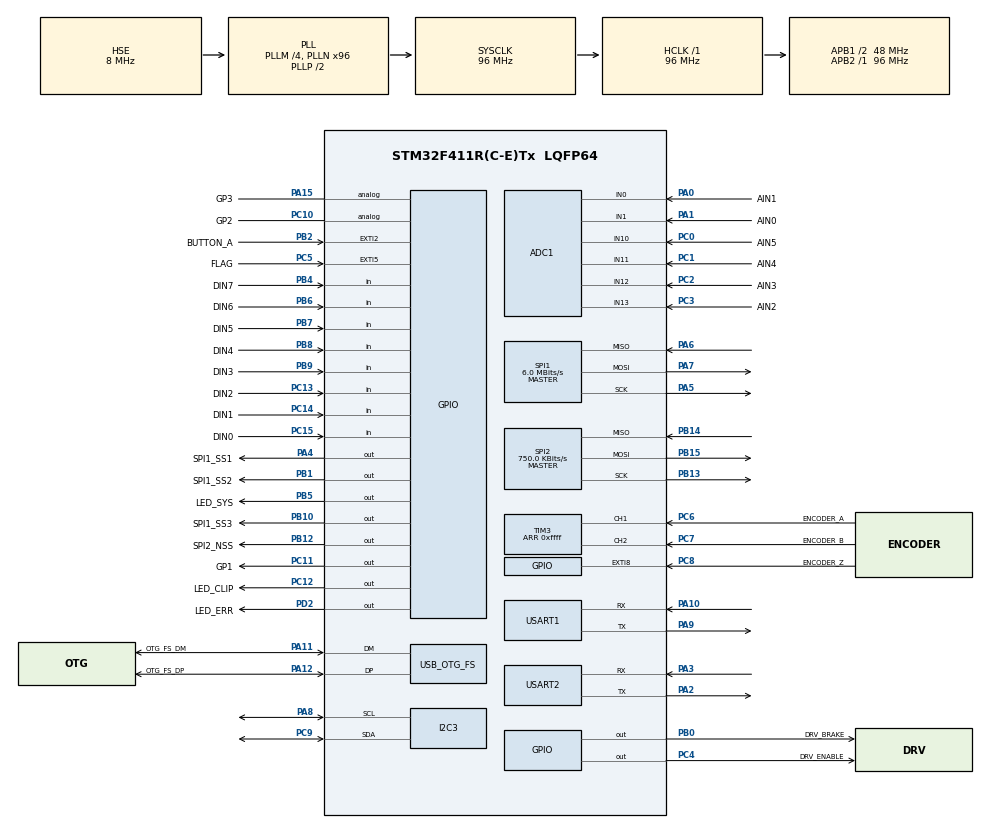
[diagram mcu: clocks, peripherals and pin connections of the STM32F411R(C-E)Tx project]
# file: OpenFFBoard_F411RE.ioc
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ADC1.Channel-1\#ChannelRegularConversion=ADC_CHANNEL_1
ADC1.Channel-2\#ChannelRegularConversion=ADC_CHANNEL_0
ADC1.Channel-3\#ChannelRegularConversion=ADC_CHANNEL_13
ADC1.Channel-4\#ChannelRegularConversion=ADC_CHANNEL_12
ADC1.Channel-5\#ChannelRegularConversion=ADC_CHANNEL_11
ADC1.Channel-6\#ChannelRegularConversion=ADC_CHANNEL_10
ADC1.Channel-7\#ChannelRegularConversion=ADC_CHANNEL_TEMPSENSOR
ADC1.ContinuousConvMode=ENABLE
ADC1.DMAContinuousRequests=ENABLE
ADC1.InjNumberOfConversion=0
ADC1.NbrOfConversion=7
ADC1.Rank-1\#ChannelRegularConversion=1
ADC1.Rank-2\#ChannelRegularConversion=2
ADC1.Rank-3\#ChannelRegularConversion=3
ADC1.Rank-4\#ChannelRegularConversion=4
ADC1.Rank-5\#ChannelRegularConversion=5
ADC1.Rank-6\#ChannelRegularConversion=6
ADC1.Rank-7\#ChannelRegularConversion=7
ADC1.SamplingTime-1\#ChannelRegularConversion=ADC_SAMPLETIME_56CYCLES
ADC1.SamplingTime-2\#ChannelRegularConversion=ADC_SAMPLETIME_56CYCLES
ADC1.SamplingTime-3\#ChannelRegularConversion=ADC_SAMPLETIME_56CYCLES
ADC1.SamplingTime-4\#ChannelRegularConversion=ADC_SAMPLETIME_56CYCLES
ADC1.SamplingTime-5\#ChannelRegularConversion=ADC_SAMPLETIME_56CYCLES
ADC1.SamplingTime-6\#ChannelRegularConversion=ADC_SAMPLETIME_56CYCLES
ADC1.SamplingTime-7\#ChannelRegularConversion=ADC_SAMPLETIME_28CYCLES
ADC1.master=1
Dma.ADC1.0.Direction=DMA_PERIPH_TO_MEMORY
Dma.ADC1.0.FIFOMode=DMA_FIFOMODE_DISABLE
Dma.ADC1.0.Instance=DMA2_Stream0
Dma.ADC1.0.MemDataAlignment=DMA_MDATAALIGN_WORD
Dma.ADC1.0.MemInc=DMA_MINC_ENABLE
Dma.ADC1.0.Mode=DMA_CIRCULAR
Dma.ADC1.0.PeriphDataAlignment=DMA_PDATAALIGN_WORD
Dma.ADC1.0.PeriphInc=DMA_PINC_DISABLE
Dma.ADC1.0.Priority=DMA_PRIORITY_MEDIUM
Dma.Request0=ADC1
Dma.Request1=SPI1_TX
Dma.Request2=SPI2_RX
Dma.Request3=SPI2_TX
Dma.Request4=SPI1_RX
Dma.SPI1_RX.4.Direction=DMA_PERIPH_TO_MEMORY
Dma.SPI1_RX.4.FIFOMode=DMA_FIFOMODE_DISABLE
Dma.SPI1_RX.4.Instance=DMA2_Stream2
Dma.SPI1_RX.4.MemDataAlignment=DMA_MDATAALIGN_BYTE
Dma.SPI1_RX.4.MemInc=DMA_MINC_ENABLE
Dma.SPI1_RX.4.Mode=DMA_NORMAL
Dma.SPI1_RX.4.PeriphDataAlignment=DMA_PDATAALIGN_BYTE
Dma.SPI1_RX.4.PeriphInc=DMA_PINC_DISABLE
Dma.SPI1_RX.4.Priority=DMA_PRIORITY_HIGH
Dma.SPI1_TX.1.Direction=DMA_MEMORY_TO_PERIPH
Dma.SPI1_TX.1.FIFOMode=DMA_FIFOMODE_DISABLE
Dma.SPI1_TX.1.Instance=DMA2_Stream3
Dma.SPI1_TX.1.MemDataAlignment=DMA_MDATAALIGN_BYTE
Dma.SPI1_TX.1.MemInc=DMA_MINC_ENABLE
Dma.SPI1_TX.1.Mode=DMA_NORMAL
Dma.SPI1_TX.1.PeriphDataAlignment=DMA_PDATAALIGN_BYTE
Dma.SPI1_TX.1.PeriphInc=DMA_PINC_DISABLE
Dma.SPI1_TX.1.Priority=DMA_PRIORITY_HIGH
Dma.SPI2_RX.2.Direction=DMA_PERIPH_TO_MEMORY
Dma.SPI2_RX.2.FIFOMode=DMA_FIFOMODE_DISABLE
Dma.SPI2_RX.2.Instance=DMA1_Stream3
Dma.SPI2_RX.2.MemDataAlignment=DMA_MDATAALIGN_BYTE
Dma.SPI2_RX.2.MemInc=DMA_MINC_ENABLE
Dma.SPI2_RX.2.Mode=DMA_NORMAL
Dma.SPI2_RX.2.PeriphDataAlignment=DMA_PDATAALIGN_BYTE
Dma.SPI2_RX.2.PeriphInc=DMA_PINC_DISABLE
Dma.SPI2_RX.2.Priority=DMA_PRIORITY_LOW
Dma.SPI2_TX.3.Direction=DMA_MEMORY_TO_PERIPH
Dma.SPI2_TX.3.FIFOMode=DMA_FIFOMODE_DISABLE
Dma.SPI2_TX.3.Instance=DMA1_Stream4
Dma.SPI2_TX.3.MemDataAlignment=DMA_MDATAALIGN_BYTE
Dma.SPI2_TX.3.MemInc=DMA_MINC_ENABLE
Dma.SPI2_TX.3.Mode=DMA_NORMAL
Dma.SPI2_TX.3.PeriphDataAlignment=DMA_PDATAALIGN_BYTE
Dma.SPI2_TX.3.PeriphInc=DMA_PINC_DISABLE
Dma.SPI2_TX.3.Priority=DMA_PRIORITY_LOW
FREERTOS.HEAP_NUMBER=4
FREERTOS.Tasks01=defaultTask,16,1024,StartDefaultTask,As weak,NULL,Dynamic,NULL,NULL
FREERTOS.configCHECK_FOR_STACK_OVERFLOW=2
FREERTOS.configENABLE_FPU=1
FREERTOS.configGENERATE_RUN_TIME_STATS=0
FREERTOS.configRECORD_STACK_HIGH_ADDRESS=1
FREERTOS.configTOTAL_HEAP_SIZE=0xffff
FREERTOS.configUSE_NEWLIB_REENTRANT=1
IWDG.Prescaler=IWDG_PRESCALER_16
Mcu.Family=STM32F4
Mcu.Name=STM32F411R(C-E)Tx
Mcu.Package=LQFP64
NVIC.DMA1_Stream3_IRQn=true\:5\:0\:true\:false\:true\:true\:false\:true\:true
NVIC.DMA1_Stream4_IRQn=true\:5\:0\:true\:false\:true\:true\:false\:true\:true
NVIC.DMA2_Stream0_IRQn=true\:5\:0\:true\:true\:true\:2\:true\:false\:true\:true
NVIC.DMA2_Stream2_IRQn=true\:5\:0\:true\:false\:true\:true\:false\:true\:true
NVIC.DMA2_Stream3_IRQn=true\:5\:0\:true\:false\:true\:true\:false\:true\:true
NVIC.EXTI2_IRQn=true\:6\:0\:true\:false\:true\:true\:true\:true\:true
NVIC.EXTI9_5_IRQn=true\:6\:0\:true\:true\:true\:6\:true\:true\:true\:true
NVIC.I2C3_ER_IRQn=true\:10\:0\:true\:false\:true\:true\:true\:true\:true
NVIC.I2C3_EV_IRQn=true\:10\:0\:true\:false\:true\:true\:true\:true\:true
NVIC.OTG_FS_IRQn=true\:14\:0\:true\:false\:true\:true\:true\:false\:true
NVIC.PriorityGroup=NVIC_PRIORITYGROUP_4
NVIC.TIM1_BRK_TIM9_IRQn=true\:6\:0\:true\:false\:true\:true\:true\:true\:true
NVIC.TIM1_TRG_COM_TIM11_IRQn=true\:0\:0\:true\:false\:true\:false\:false\:true\:true
NVIC.TIM2_IRQn=true\:7\:0\:true\:true\:true\:5\:true\:true\:true\:true
NVIC.TIM3_IRQn=true\:6\:0\:true\:true\:true\:4\:true\:true\:true\:true
NVIC.TIM4_IRQn=true\:6\:0\:true\:true\:true\:3\:true\:true\:true\:true
NVIC.TIM5_IRQn=true\:9\:0\:true\:true\:true\:7\:true\:true\:true\:true
NVIC.TimeBase=TIM1_TRG_COM_TIM11_IRQn
NVIC.TimeBaseIP=TIM11
NVIC.USART1_IRQn=true\:6\:0\:true\:true\:true\:1\:true\:true\:true\:true
PA0-WKUP.GPIO_Label=AIN1
PA0-WKUP.Signal=ADCx_IN0
PA1.GPIO_Label=AIN0
PA1.Signal=ADCx_IN1
PA10.GPIO_PuPd=GPIO_PULLUP
PA10.Mode=Asynchronous
PA10.Signal=USART1_RX
PA11.GPIO_Label=OTG_FS_DM
PA11.Mode=Device_Only
PA11.Signal=USB_OTG_FS_DM
PA12.GPIO_Label=OTG_FS_DP
PA12.Mode=Device_Only
PA12.Signal=USB_OTG_FS_DP
PA13.GPIO_Label=SWDIO
PA13.Mode=Serial_Wire
PA13.Signal=SYS_JTMS-SWDIO
PA14.GPIO_Label=SWCLK
PA14.Mode=Serial_Wire
PA14.Signal=SYS_JTCK-SWCLK
PA15.GPIO_Label=GP3
PA15.Signal=GPIO_Analog
PA2.Mode=Asynchronous
PA2.Signal=USART2_TX
PA3.Mode=Asynchronous
PA3.Signal=USART2_RX
PA4.GPIO_Label=SPI1_SS1
PA4.GPIO_Speed=GPIO_SPEED_FREQ_VERY_HIGH
PA4.PinState=GPIO_PIN_SET
PA4.Signal=GPIO_Output
PA5.Mode=Full_Duplex_Master
PA5.Signal=SPI1_SCK
PA6.GPIO_PuPd=GPIO_NOPULL
PA6.Mode=Full_Duplex_Master
PA6.Signal=SPI1_MISO
PA7.Mode=Full_Duplex_Master
PA7.Signal=SPI1_MOSI
PA8.GPIO_Pu=GPIO_PULLUP
PA8.Mode=I2C
PA8.Signal=I2C3_SCL
PA9.Mode=Asynchronous
PA9.Signal=USART1_TX
PB0.GPIO_Label=DRV_BRAKE
PB0.GPIO_PuPd=GPIO_NOPULL
PB0.GPIO_Speed=GPIO_SPEED_FREQ_MEDIUM
PB0.Signal=GPIO_Output
PB1.GPIO_Label=SPI1_SS2
PB1.GPIO_Speed=GPIO_SPEED_FREQ_VERY_HIGH
PB1.PinState=GPIO_PIN_SET
PB1.Signal=GPIO_Output
PB10.GPIO_Label=SPI1_SS3
PB10.GPIO_Speed=GPIO_SPEED_FREQ_VERY_HIGH
PB10.PinState=GPIO_PIN_SET
PB10.Signal=GPIO_Output
PB12.GPIO_Label=SPI2_NSS
PB12.GPIO_Speed=GPIO_SPEED_FREQ_HIGH
PB12.Signal=GPIO_Output
PB13.Mode=Full_Duplex_Master
PB13.Signal=SPI2_SCK
PB14.Mode=Full_Duplex_Master
PB14.Signal=SPI2_MISO
PB15.Mode=Full_Duplex_Master
PB15.Signal=SPI2_MOSI
PB2.GPIO_Label=BUTTON_A
PB2.Signal=GPXTI2
PB3.Signal=SYS_JTDO-SWO
PB4.GPIO_Label=DIN7
PB4.GPIO_PuPd=GPIO_PULLUP
PB4.Signal=GPIO_Input
PB5.GPIO_Label=LED_SYS
PB5.Signal=GPIO_Output
PB6.GPIO_Label=DIN6
PB6.GPIO_PuPd=GPIO_PULLUP
PB6.Signal=GPIO_Input
PB7.GPIO_Label=DIN5
PB7.GPIO_PuPd=GPIO_PULLUP
PB7.Signal=GPIO_Input
PB8.GPIO_Label=DIN4
PB8.GPIO_PuPd=GPIO_PULLUP
PB8.Signal=GPIO_Input
PB9.GPIO_Label=DIN3
PB9.GPIO_PuPd=GPIO_PULLUP
PB9.Signal=GPIO_Input
PC0.GPIO_Label=AIN5
PC0.Signal=ADCx_IN10
PC1.GPIO_Label=AIN4
PC1.Signal=ADCx_IN11
PC10.GPIO_Label=GP2
PC10.Signal=GPIO_Analog
PC11.GPIO_Label=GP1
PC11.Signal=GPIO_Output
PC12.GPIO_Label=LED_CLIP
PC12.Signal=GPIO_Output
PC13-ANTI_TAMP.GPIO_Label=DIN2
PC13-ANTI_TAMP.GPIO_PuPd=GPIO_PULLUP
PC13-ANTI_TAMP.Signal=GPIO_Input
PC14-OSC32_IN.GPIO_Label=DIN1
PC14-OSC32_IN.GPIO_PuPd=GPIO_PULLUP
PC14-OSC32_IN.Signal=GPIO_Input
PC15-OSC32_OUT.GPIO_Label=DIN0
PC15-OSC32_OUT.GPIO_PuPd=GPIO_PULLUP
PC15-OSC32_OUT.Signal=GPIO_Input
PC2.GPIO_Label=AIN3
PC2.Signal=ADCx_IN12
PC3.GPIO_Label=AIN2
PC3.Signal=ADCx_IN13
PC4.GPIO_Label=DRV_ENABLE
PC4.GPIO_PuPd=GPIO_NOPULL
PC4.Signal=GPIO_Output
PC5.GPIO_Label=FLAG
PC5.Signal=GPXTI5
PC6.GPIO_Label=ENCODER_A
PC6.GPIO_PuPd=GPIO_NOPULL
PC6.GPIO_Speed=GPIO_SPEED_FREQ_MEDIUM
PC6.Signal=S_TIM3_CH1
PC7.GPIO_Label=ENCODER_B
PC7.GPIO_PuPd=GPIO_NOPULL
PC7.GPIO_Speed=GPIO_SPEED_FREQ_MEDIUM
PC7.Signal=S_TIM3_CH2
PC8.GPIO_Label=ENCODER_Z
PC8.GPIO_ModeDefaultEXTI=GPIO_MODE_IT_FALLING
PC8.GPIO_PuPd=GPIO_NOPULL
PC8.Signal=GPXTI8
PC9.GPIO_Pu=GPIO_PULLUP
PC9.Mode=I2C
PC9.Signal=I2C3_SDA
PD2.GPIO_Label=LED_ERR
PD2.Signal=GPIO_Output
PH0\ -\ OSC_IN.Mode=HSE-External-Oscillator
PH0\ -\ OSC_IN.Signal=RCC_OSC_IN
PH1\ -\ OSC_OUT.Mode=HSE-External-Oscillator
PH1\ -\ OSC_OUT.Signal=RCC_OSC_OUT
ProjectManager.HeapSize=0x400
ProjectManager.StackSize=0x400
ProjectManager.TargetToolchain=STM32CubeIDE
RCC.48MHZClocksFreq_Value=48000000
RCC.AHBFreq_Value=96000000
RCC.APB1CLKDivider=RCC_HCLK_DIV2
RCC.APB1Freq_Value=48000000
RCC.APB1TimFreq_Value=96000000
RCC.APB2Freq_Value=96000000
RCC.APB2TimFreq_Value=96000000
RCC.CortexFreq_Value=96000000
RCC.HCLKFreq_Value=96000000
RCC.HSE_VALUE=8000000
RCC.HSI_VALUE=16000000
RCC.LSE_VALUE=32768
RCC.PLLM=4
RCC.PLLN=96
RCC.SYSCLKFreq_VALUE=96000000
RCC.SYSCLKSource=RCC_SYSCLKSOURCE_PLLCLK
RCC.VCOOutputFreq_Value=192000000
SH.ADCx_IN0.0=ADC1_IN0,IN0
SH.ADCx_IN1.0=ADC1_IN1,IN1
SH.ADCx_IN10.0=ADC1_IN10,IN10
SH.ADCx_IN11.0=ADC1_IN11,IN11
SH.ADCx_IN12.0=ADC1_IN12,IN12
SH.ADCx_IN13.0=ADC1_IN13,IN13
SH.S_TIM3_CH1.0=TIM3_CH1,Encoder_Interface
SH.S_TIM3_CH2.0=TIM3_CH2,Encoder_Interface
SPI1.BaudRatePrescaler=SPI_BAUDRATEPRESCALER_16
SPI1.CLKPhase=SPI_PHASE_2EDGE
SPI1.CLKPolarity=SPI_POLARITY_HIGH
SPI1.CalculateBaudRate=6.0 MBits/s
SPI1.DataSize=SPI_DATASIZE_8BIT
SPI1.Direction=SPI_DIRECTION_2LINES
SPI1.FirstBit=SPI_FIRSTBIT_MSB
SPI1.Mode=SPI_MODE_MASTER
SPI1.VirtualType=VM_MASTER
SPI2.BaudRatePrescaler=SPI_BAUDRATEPRESCALER_64
SPI2.CLKPhase=SPI_PHASE_1EDGE
SPI2.CLKPolarity=SPI_POLARITY_LOW
SPI2.CalculateBaudRate=750.0 KBits/s
SPI2.Direction=SPI_DIRECTION_2LINES
SPI2.FirstBit=SPI_FIRSTBIT_MSB
SPI2.Mode=SPI_MODE_MASTER
SPI2.VirtualType=VM_MASTER
TIM1.Period=0xffff
TIM1.Prescaler=96-1
TIM10.Prescaler=96-1
TIM2.Period=500
TIM2.Prescaler=96-1
TIM3.CounterMode=TIM_COUNTERMODE_CENTERALIGNED1
TIM3.EncoderMode=TIM_ENCODERMODE_TI12
TIM3.Period=0xffff
TIM4.Period=0xffff
TIM4.Prescaler=96-1
TIM5.Period=0xffffffff
TIM5.Prescaler=96-1
USART1.VirtualMode=VM_ASYNC
USART2.VirtualMode=VM_ASYNC
USB_OTG_FS.Sof_enable=DISABLE
USB_OTG_FS.VirtualMode=Device_Only
USB_OTG_FS.lpm_enable=DISABLE
VP_ADC1_TempSens_Input.Mode=IN-TempSens
VP_FREERTOS_VS_CMSIS_V2.Mode=CMSIS_V2
VP_IWDG_VS_IWDG.Mode=IWDG_Activate
VP_SYS_VS_tim11.Mode=TIM11
VP_TIM10_VS_ClockSourceINT.Mode=Enable_Timer
VP_TIM1_VS_ClockSourceINT.Mode=Internal
VP_TIM2_VS_ClockSourceINT.Mode=Internal
VP_TIM4_VS_ClockSourceINT.Mode=Internal
VP_TIM5_VS_ClockSourceINT.Mode=Internal
VP_TIM9_VS_ClockSourceINT.Mode=Internal
board=custom

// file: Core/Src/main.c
/* USER CODE BEGIN Header */
/**
  ******************************************************************************
  * @file           : main.c
  * @brief          : Main program body
  ******************************************************************************
  * @attention
  *
  * <h2><center>&copy; Copyright (c) 2020 STMicroelectronics.
  * All rights reserved.</center></h2>
  *
  * This software component is licensed by ST under BSD 3-Clause license,
  * the "License"; You may not use this file except in compliance with the
  * License. You may obtain a copy of the License at:
  *                        opensource.org/licenses/BSD-3-Clause
  *
  ******************************************************************************
  */
/* USER CODE END Header */
#include "main.h"
#include "cmsis_os.h"

/* USER CODE BEGIN Includes */
#include <cppmain.h>
extern void cppmain();

#include "printf.h"
//#include "global_callbacks.h"
/* USER CODE END Includes */

ADC_HandleTypeDef hadc1;
DMA_HandleTypeDef hdma_adc1;

I2C_HandleTypeDef hi2c3;

IWDG_HandleTypeDef hiwdg;

SPI_HandleTypeDef hspi1;
SPI_HandleTypeDef hspi2;
DMA_HandleTypeDef hdma_spi1_tx;
DMA_HandleTypeDef hdma_spi1_rx;
DMA_HandleTypeDef hdma_spi2_rx;
DMA_HandleTypeDef hdma_spi2_tx;

TIM_HandleTypeDef htim1;
TIM_HandleTypeDef htim2;
TIM_HandleTypeDef htim3;
TIM_HandleTypeDef htim4;
TIM_HandleTypeDef htim5;
TIM_HandleTypeDef htim9;
TIM_HandleTypeDef htim10;

UART_HandleTypeDef huart1;
UART_HandleTypeDef huart2;

PCD_HandleTypeDef hpcd_USB_OTG_FS;

/* Definitions for defaultTask */
osThreadId_t defaultTaskHandle;
const osThreadAttr_t defaultTask_attributes = {
  .name = "defaultTask",
  .stack_size = 1024 * 4,
  .priority = (osPriority_t) osPriorityBelowNormal,
};

void SystemClock_Config(void);
static void MX_GPIO_Init(void);
static void MX_DMA_Init(void);
static void MX_TIM3_Init(void);
static void MX_ADC1_Init(void);
static void MX_TIM2_Init(void);
static void MX_TIM1_Init(void);
static void MX_USART1_UART_Init(void);
static void MX_SPI2_Init(void);
static void MX_TIM4_Init(void);
static void MX_TIM5_Init(void);
static void MX_I2C3_Init(void);
static void MX_SPI1_Init(void);
static void MX_TIM10_Init(void);
static void MX_TIM9_Init(void);
static void MX_IWDG_Init(void);
static void MX_USART2_UART_Init(void);
void StartDefaultTask(void *argument);

static void MX_NVIC_Init(void);
/* USER CODE BEGIN PFP */
uint32_t dfu_reset_to_bootloader_magic;
/* USER CODE END PFP */

/* USER CODE BEGIN 0 */

// dummy main
__attribute__((weak)) void cppmain(){
	Error_Handler();
}

static char   printf_buffer[2];
void _putchar(char character)
{
  // send char to console etc.
	printf_buffer[1] = character;
	HAL_UART_Transmit(&huart2, (uint8_t*)printf_buffer, sizeof(printf_buffer), 1000);
	//HAL_UART_Transmit(&huart4, (uint8_t*)printf_buffer, sizeof(printf_buffer), 1000);
}

/* USER CODE END 0 */

int main(void)
{

  /* MCU Configuration--------------------------------------------------------*/

  /* Reset of all peripherals, Initializes the Flash interface and the Systick. */
  HAL_Init();

  /* Configure the system clock */
  SystemClock_Config();

  /* Initialize all configured peripherals */
  MX_GPIO_Init();
  MX_DMA_Init();
  MX_TIM3_Init();
  MX_ADC1_Init();
  MX_TIM2_Init();
  MX_TIM1_Init();
  MX_USART1_UART_Init();
  MX_SPI2_Init();
  MX_TIM4_Init();
  MX_TIM5_Init();
  MX_I2C3_Init();
  MX_SPI1_Init();
  MX_TIM10_Init();
  MX_TIM9_Init();
  MX_IWDG_Init();
  MX_USART2_UART_Init();

  /* Initialize interrupts */
  MX_NVIC_Init();
  /* USER CODE BEGIN 2 */
  MX_USB_OTG_FS_PCD_Init();
  //Test leds
  HAL_GPIO_WritePin(LED_SYS_GPIO_Port, LED_SYS_Pin, GPIO_PIN_SET);
  HAL_GPIO_WritePin(LED_CLIP_GPIO_Port, LED_CLIP_Pin, GPIO_PIN_SET);
  HAL_GPIO_WritePin(LED_ERR_GPIO_Port, LED_ERR_Pin, GPIO_PIN_SET);
  HAL_Delay(100);

  printf("\r\n");
  	printf ("============== OpenFFB  ==============\r\n");

  /* USER CODE END 2 */

  /* Init scheduler */
  osKernelInitialize();

  /* Create the thread(s) */
  /* creation of defaultTask */
  defaultTaskHandle = osThreadNew(StartDefaultTask, NULL, &defaultTask_attributes);

  /* Start scheduler */
  osKernelStart();

  /* We should never get here as control is now taken by the scheduler */
  /* Infinite loop */
  /* USER CODE BEGIN WHILE */

  while (1)
  {
	  cppmain();
    /* USER CODE END WHILE */

  }
}

void SystemClock_Config(void)
{
  RCC_OscInitTypeDef RCC_OscInitStruct = {0};
  RCC_ClkInitTypeDef RCC_ClkInitStruct = {0};

  /** Configure the main internal regulator output voltage
  */
  __HAL_RCC_PWR_CLK_ENABLE();
  __HAL_PWR_VOLTAGESCALING_CONFIG(PWR_REGULATOR_VOLTAGE_SCALE1);

  /** Initializes the RCC Oscillators according to the specified parameters
  * in the RCC_OscInitTypeDef structure.
  */
  RCC_OscInitStruct.OscillatorType = RCC_OSCILLATORTYPE_LSI|RCC_OSCILLATORTYPE_HSE;
  RCC_OscInitStruct.HSEState = RCC_HSE_ON;
  RCC_OscInitStruct.LSIState = RCC_LSI_ON;
  RCC_OscInitStruct.PLL.PLLState = RCC_PLL_ON;
  RCC_OscInitStruct.PLL.PLLSource = RCC_PLLSOURCE_HSE;
  RCC_OscInitStruct.PLL.PLLM = 4;
  RCC_OscInitStruct.PLL.PLLN = 96;
  RCC_OscInitStruct.PLL.PLLP = RCC_PLLP_DIV2;
  RCC_OscInitStruct.PLL.PLLQ = 4;
  if (HAL_RCC_OscConfig(&RCC_OscInitStruct) != HAL_OK)
  {
    Error_Handler();
  }

  /** Initializes the CPU, AHB and APB buses clocks
  */
  RCC_ClkInitStruct.ClockType = RCC_CLOCKTYPE_HCLK|RCC_CLOCKTYPE_SYSCLK
                              |RCC_CLOCKTYPE_PCLK1|RCC_CLOCKTYPE_PCLK2;
  RCC_ClkInitStruct.SYSCLKSource = RCC_SYSCLKSOURCE_PLLCLK;
  RCC_ClkInitStruct.AHBCLKDivider = RCC_SYSCLK_DIV1;
  RCC_ClkInitStruct.APB1CLKDivider = RCC_HCLK_DIV2;
  RCC_ClkInitStruct.APB2CLKDivider = RCC_HCLK_DIV1;

  if (HAL_RCC_ClockConfig(&RCC_ClkInitStruct, FLASH_LATENCY_3) != HAL_OK)
  {
    Error_Handler();
  }
}

/**
  * @brief NVIC Configuration.
  * @retval None
  */
static void MX_NVIC_Init(void)
{
  /* USART1_IRQn interrupt configuration */
  HAL_NVIC_SetPriority(USART1_IRQn, 6, 0);
  HAL_NVIC_EnableIRQ(USART1_IRQn);
  /* DMA2_Stream0_IRQn interrupt configuration */
  HAL_NVIC_SetPriority(DMA2_Stream0_IRQn, 5, 0);
  HAL_NVIC_EnableIRQ(DMA2_Stream0_IRQn);
  /* TIM4_IRQn interrupt configuration */
  HAL_NVIC_SetPriority(TIM4_IRQn, 6, 0);
  HAL_NVIC_EnableIRQ(TIM4_IRQn);
  /* TIM3_IRQn interrupt configuration */
  HAL_NVIC_SetPriority(TIM3_IRQn, 6, 0);
  HAL_NVIC_EnableIRQ(TIM3_IRQn);
  /* TIM2_IRQn interrupt configuration */
  HAL_NVIC_SetPriority(TIM2_IRQn, 7, 0);
  HAL_NVIC_EnableIRQ(TIM2_IRQn);
  /* EXTI9_5_IRQn interrupt configuration */
  HAL_NVIC_SetPriority(EXTI9_5_IRQn, 6, 0);
  HAL_NVIC_EnableIRQ(EXTI9_5_IRQn);
  /* TIM5_IRQn interrupt configuration */
  HAL_NVIC_SetPriority(TIM5_IRQn, 9, 0);
  HAL_NVIC_EnableIRQ(TIM5_IRQn);
}

static void MX_ADC1_Init(void)
{

  ADC_ChannelConfTypeDef sConfig = {0};

  /** Configure the global features of the ADC (Clock, Resolution, Data Alignment and number of conversion)
  */
  hadc1.Instance = ADC1;
  hadc1.Init.ClockPrescaler = ADC_CLOCK_SYNC_PCLK_DIV4;
  hadc1.Init.Resolution = ADC_RESOLUTION_12B;
  hadc1.Init.ScanConvMode = ENABLE;
  hadc1.Init.ContinuousConvMode = ENABLE;
  hadc1.Init.DiscontinuousConvMode = DISABLE;
  hadc1.Init.ExternalTrigConvEdge = ADC_EXTERNALTRIGCONVEDGE_NONE;
  hadc1.Init.ExternalTrigConv = ADC_SOFTWARE_START;
  hadc1.Init.DataAlign = ADC_DATAALIGN_RIGHT;
  hadc1.Init.NbrOfConversion = 7;
  hadc1.Init.DMAContinuousRequests = ENABLE;
  hadc1.Init.EOCSelection = ADC_EOC_SINGLE_CONV;
  if (HAL_ADC_Init(&hadc1) != HAL_OK)
  {
    Error_Handler();
  }

  /** Configure for the selected ADC regular channel its corresponding rank in the sequencer and its sample time.
  */
  sConfig.Channel = ADC_CHANNEL_1;
  sConfig.Rank = 1;
  sConfig.SamplingTime = ADC_SAMPLETIME_56CYCLES;
  if (HAL_ADC_ConfigChannel(&hadc1, &sConfig) != HAL_OK)
  {
    Error_Handler();
  }

  /** Configure for the selected ADC regular channel its corresponding rank in the sequencer and its sample time.
  */
  sConfig.Channel = ADC_CHANNEL_0;
  sConfig.Rank = 2;
  if (HAL_ADC_ConfigChannel(&hadc1, &sConfig) != HAL_OK)
  {
    Error_Handler();
  }

  /** Configure for the selected ADC regular channel its corresponding rank in the sequencer and its sample time.
  */
  sConfig.Channel = ADC_CHANNEL_13;
  sConfig.Rank = 3;
  if (HAL_ADC_ConfigChannel(&hadc1, &sConfig) != HAL_OK)
  {
    Error_Handler();
  }

  /** Configure for the selected ADC regular channel its corresponding rank in the sequencer and its sample time.
  */
  sConfig.Channel = ADC_CHANNEL_12;
  sConfig.Rank = 4;
  if (HAL_ADC_ConfigChannel(&hadc1, &sConfig) != HAL_OK)
  {
    Error_Handler();
  }

  /** Configure for the selected ADC regular channel its corresponding rank in the sequencer and its sample time.
  */
  sConfig.Channel = ADC_CHANNEL_11;
  sConfig.Rank = 5;
  if (HAL_ADC_ConfigChannel(&hadc1, &sConfig) != HAL_OK)
  {
    Error_Handler();
  }

  /** Configure for the selected ADC regular channel its corresponding rank in the sequencer and its sample time.
  */
  sConfig.Channel = ADC_CHANNEL_10;
  sConfig.Rank = 6;
  if (HAL_ADC_ConfigChannel(&hadc1, &sConfig) != HAL_OK)
  {
    Error_Handler();
  }

  /** Configure for the selected ADC regular channel its corresponding rank in the sequencer and its sample time.
  */
  sConfig.Channel = ADC_CHANNEL_TEMPSENSOR;
  sConfig.Rank = 7;
  sConfig.SamplingTime = ADC_SAMPLETIME_28CYCLES;
  if (HAL_ADC_ConfigChannel(&hadc1, &sConfig) != HAL_OK)
  {
    Error_Handler();
  }

}

static void MX_I2C3_Init(void)
{

  hi2c3.Instance = I2C3;
  hi2c3.Init.ClockSpeed = 100000;
  hi2c3.Init.DutyCycle = I2C_DUTYCYCLE_2;
  hi2c3.Init.OwnAddress1 = 0;
  hi2c3.Init.AddressingMode = I2C_ADDRESSINGMODE_7BIT;
  hi2c3.Init.DualAddressMode = I2C_DUALADDRESS_DISABLE;
  hi2c3.Init.OwnAddress2 = 0;
  hi2c3.Init.GeneralCallMode = I2C_GENERALCALL_DISABLE;
  hi2c3.Init.NoStretchMode = I2C_NOSTRETCH_DISABLE;
  if (HAL_I2C_Init(&hi2c3) != HAL_OK)
  {
    Error_Handler();
  }

}

static void MX_IWDG_Init(void)
{

  hiwdg.Instance = IWDG;
  hiwdg.Init.Prescaler = IWDG_PRESCALER_16;
  hiwdg.Init.Reload = 4095;
  if (HAL_IWDG_Init(&hiwdg) != HAL_OK)
  {
    Error_Handler();
  }

}

static void MX_SPI1_Init(void)
{

  /* SPI1 parameter configuration*/
  hspi1.Instance = SPI1;
  hspi1.Init.Mode = SPI_MODE_MASTER;
  hspi1.Init.Direction = SPI_DIRECTION_2LINES;
  hspi1.Init.DataSize = SPI_DATASIZE_8BIT;
  hspi1.Init.CLKPolarity = SPI_POLARITY_HIGH;
  hspi1.Init.CLKPhase = SPI_PHASE_2EDGE;
  hspi1.Init.NSS = SPI_NSS_SOFT;
  hspi1.Init.BaudRatePrescaler = SPI_BAUDRATEPRESCALER_16;
  hspi1.Init.FirstBit = SPI_FIRSTBIT_MSB;
  hspi1.Init.TIMode = SPI_TIMODE_DISABLE;
  hspi1.Init.CRCCalculation = SPI_CRCCALCULATION_DISABLE;
  hspi1.Init.CRCPolynomial = 10;
  if (HAL_SPI_Init(&hspi1) != HAL_OK)
  {
    Error_Handler();
  }

}

static void MX_SPI2_Init(void)
{

  /* SPI2 parameter configuration*/
  hspi2.Instance = SPI2;
  hspi2.Init.Mode = SPI_MODE_MASTER;
  hspi2.Init.Direction = SPI_DIRECTION_2LINES;
  hspi2.Init.DataSize = SPI_DATASIZE_8BIT;
  hspi2.Init.CLKPolarity = SPI_POLARITY_LOW;
  hspi2.Init.CLKPhase = SPI_PHASE_1EDGE;
  hspi2.Init.NSS = SPI_NSS_SOFT;
  hspi2.Init.BaudRatePrescaler = SPI_BAUDRATEPRESCALER_64;
  hspi2.Init.FirstBit = SPI_FIRSTBIT_MSB;
  hspi2.Init.TIMode = SPI_TIMODE_DISABLE;
  hspi2.Init.CRCCalculation = SPI_CRCCALCULATION_DISABLE;
  hspi2.Init.CRCPolynomial = 10;
  if (HAL_SPI_Init(&hspi2) != HAL_OK)
  {
    Error_Handler();
  }

}

static void MX_TIM1_Init(void)
{

  TIM_ClockConfigTypeDef sClockSourceConfig = {0};
  TIM_MasterConfigTypeDef sMasterConfig = {0};

  htim1.Instance = TIM1;
  htim1.Init.Prescaler = 96-1;
  htim1.Init.CounterMode = TIM_COUNTERMODE_UP;
  htim1.Init.Period = 0xffff;
  htim1.Init.ClockDivision = TIM_CLOCKDIVISION_DIV1;
  htim1.Init.RepetitionCounter = 0;
  htim1.Init.AutoReloadPreload = TIM_AUTORELOAD_PRELOAD_DISABLE;
  if (HAL_TIM_Base_Init(&htim1) != HAL_OK)
  {
    Error_Handler();
  }
  sClockSourceConfig.ClockSource = TIM_CLOCKSOURCE_INTERNAL;
  if (HAL_TIM_ConfigClockSource(&htim1, &sClockSourceConfig) != HAL_OK)
  {
    Error_Handler();
  }
  sMasterConfig.MasterOutputTrigger = TIM_TRGO_RESET;
  sMasterConfig.MasterSlaveMode = TIM_MASTERSLAVEMODE_DISABLE;
  if (HAL_TIMEx_MasterConfigSynchronization(&htim1, &sMasterConfig) != HAL_OK)
  {
    Error_Handler();
  }

}

static void MX_TIM2_Init(void)
{

  TIM_ClockConfigTypeDef sClockSourceConfig = {0};
  TIM_MasterConfigTypeDef sMasterConfig = {0};

  htim2.Instance = TIM2;
  htim2.Init.Prescaler = 96-1;
  htim2.Init.CounterMode = TIM_COUNTERMODE_UP;
  htim2.Init.Period = 500;
  htim2.Init.ClockDivision = TIM_CLOCKDIVISION_DIV1;
  htim2.Init.AutoReloadPreload = TIM_AUTORELOAD_PRELOAD_DISABLE;
  if (HAL_TIM_Base_Init(&htim2) != HAL_OK)
  {
    Error_Handler();
  }
  sClockSourceConfig.ClockSource = TIM_CLOCKSOURCE_INTERNAL;
  if (HAL_TIM_ConfigClockSource(&htim2, &sClockSourceConfig) != HAL_OK)
  {
    Error_Handler();
  }
  sMasterConfig.MasterOutputTrigger = TIM_TRGO_RESET;
  sMasterConfig.MasterSlaveMode = TIM_MASTERSLAVEMODE_DISABLE;
  if (HAL_TIMEx_MasterConfigSynchronization(&htim2, &sMasterConfig) != HAL_OK)
  {
    Error_Handler();
  }

}

static void MX_TIM3_Init(void)
{

  TIM_Encoder_InitTypeDef sConfig = {0};
  TIM_MasterConfigTypeDef sMasterConfig = {0};

  htim3.Instance = TIM3;
  htim3.Init.Prescaler = 0;
  htim3.Init.CounterMode = TIM_COUNTERMODE_CENTERALIGNED1;
  htim3.Init.Period = 0xffff;
  htim3.Init.ClockDivision = TIM_CLOCKDIVISION_DIV1;
  htim3.Init.AutoReloadPreload = TIM_AUTORELOAD_PRELOAD_DISABLE;
  sConfig.EncoderMode = TIM_ENCODERMODE_TI12;
  sConfig.IC1Polarity = TIM_ICPOLARITY_RISING;
  sConfig.IC1Selection = TIM_ICSELECTION_DIRECTTI;
  sConfig.IC1Prescaler = TIM_ICPSC_DIV1;
  sConfig.IC1Filter = 0;
  sConfig.IC2Polarity = TIM_ICPOLARITY_RISING;
  sConfig.IC2Selection = TIM_ICSELECTION_DIRECTTI;
  sConfig.IC2Prescaler = TIM_ICPSC_DIV1;
  sConfig.IC2Filter = 0;
  if (HAL_TIM_Encoder_Init(&htim3, &sConfig) != HAL_OK)
  {
    Error_Handler();
  }
  sMasterConfig.MasterOutputTrigger = TIM_TRGO_RESET;
  sMasterConfig.MasterSlaveMode = TIM_MASTERSLAVEMODE_DISABLE;
  if (HAL_TIMEx_MasterConfigSynchronization(&htim3, &sMasterConfig) != HAL_OK)
  {
    Error_Handler();
  }

}

static void MX_TIM4_Init(void)
{

  TIM_ClockConfigTypeDef sClockSourceConfig = {0};
  TIM_MasterConfigTypeDef sMasterConfig = {0};

  htim4.Instance = TIM4;
  htim4.Init.Prescaler = 96-1;
  htim4.Init.CounterMode = TIM_COUNTERMODE_UP;
  htim4.Init.Period = 0xffff;
  htim4.Init.ClockDivision = TIM_CLOCKDIVISION_DIV1;
  htim4.Init.AutoReloadPreload = TIM_AUTORELOAD_PRELOAD_DISABLE;
  if (HAL_TIM_Base_Init(&htim4) != HAL_OK)
  {
    Error_Handler();
  }
  sClockSourceConfig.ClockSource = TIM_CLOCKSOURCE_INTERNAL;
  if (HAL_TIM_ConfigClockSource(&htim4, &sClockSourceConfig) != HAL_OK)
  {
    Error_Handler();
  }
  sMasterConfig.MasterOutputTrigger = TIM_TRGO_RESET;
  sMasterConfig.MasterSlaveMode = TIM_MASTERSLAVEMODE_DISABLE;
  if (HAL_TIMEx_MasterConfigSynchronization(&htim4, &sMasterConfig) != HAL_OK)
  {
    Error_Handler();
  }

}

static void MX_TIM5_Init(void)
{

  TIM_ClockConfigTypeDef sClockSourceConfig = {0};
  TIM_MasterConfigTypeDef sMasterConfig = {0};

  htim5.Instance = TIM5;
  htim5.Init.Prescaler = 96-1;
  htim5.Init.CounterMode = TIM_COUNTERMODE_UP;
  htim5.Init.Period = 0xffffffff;
  htim5.Init.ClockDivision = TIM_CLOCKDIVISION_DIV1;
  htim5.Init.AutoReloadPreload = TIM_AUTORELOAD_PRELOAD_DISABLE;
  if (HAL_TIM_Base_Init(&htim5) != HAL_OK)
  {
    Error_Handler();
  }
  sClockSourceConfig.ClockSource = TIM_CLOCKSOURCE_INTERNAL;
  if (HAL_TIM_ConfigClockSource(&htim5, &sClockSourceConfig) != HAL_OK)
  {
    Error_Handler();
  }
  sMasterConfig.MasterOutputTrigger = TIM_TRGO_RESET;
  sMasterConfig.MasterSlaveMode = TIM_MASTERSLAVEMODE_DISABLE;
  if (HAL_TIMEx_MasterConfigSynchronization(&htim5, &sMasterConfig) != HAL_OK)
  {
    Error_Handler();
  }

}

static void MX_TIM9_Init(void)
{

  TIM_ClockConfigTypeDef sClockSourceConfig = {0};

  htim9.Instance = TIM9;
  htim9.Init.Prescaler = 0;
  htim9.Init.CounterMode = TIM_COUNTERMODE_UP;
  htim9.Init.Period = 65535;
  htim9.Init.ClockDivision = TIM_CLOCKDIVISION_DIV1;
  htim9.Init.AutoReloadPreload = TIM_AUTORELOAD_PRELOAD_DISABLE;
  if (HAL_TIM_Base_Init(&htim9) != HAL_OK)
  {
    Error_Handler();
  }
  sClockSourceConfig.ClockSource = TIM_CLOCKSOURCE_INTERNAL;
  if (HAL_TIM_ConfigClockSource(&htim9, &sClockSourceConfig) != HAL_OK)
  {
    Error_Handler();
  }

}

static void MX_TIM10_Init(void)
{

  htim10.Instance = TIM10;
  htim10.Init.Prescaler = 96-1;
  htim10.Init.CounterMode = TIM_COUNTERMODE_UP;
  htim10.Init.Period = 65535;
  htim10.Init.ClockDivision = TIM_CLOCKDIVISION_DIV1;
  htim10.Init.AutoReloadPreload = TIM_AUTORELOAD_PRELOAD_DISABLE;
  if (HAL_TIM_Base_Init(&htim10) != HAL_OK)
  {
    Error_Handler();
  }

}

static void MX_USART1_UART_Init(void)
{

  huart1.Instance = USART1;
  huart1.Init.BaudRate = 115200;
  huart1.Init.WordLength = UART_WORDLENGTH_8B;
  huart1.Init.StopBits = UART_STOPBITS_1;
  huart1.Init.Parity = UART_PARITY_NONE;
  huart1.Init.Mode = UART_MODE_TX_RX;
  huart1.Init.HwFlowCtl = UART_HWCONTROL_NONE;
  huart1.Init.OverSampling = UART_OVERSAMPLING_16;
  if (HAL_UART_Init(&huart1) != HAL_OK)
  {
    Error_Handler();
  }

}

static void MX_USART2_UART_Init(void)
{

  huart2.Instance = USART2;
  huart2.Init.BaudRate = 115200;
  huart2.Init.WordLength = UART_WORDLENGTH_8B;
  huart2.Init.StopBits = UART_STOPBITS_1;
  huart2.Init.Parity = UART_PARITY_NONE;
  huart2.Init.Mode = UART_MODE_TX_RX;
  huart2.Init.HwFlowCtl = UART_HWCONTROL_NONE;
  huart2.Init.OverSampling = UART_OVERSAMPLING_16;
  if (HAL_UART_Init(&huart2) != HAL_OK)
  {
    Error_Handler();
  }

}

void MX_USB_OTG_FS_PCD_Init(void)
{

  hpcd_USB_OTG_FS.Instance = USB_OTG_FS;
  hpcd_USB_OTG_FS.Init.dev_endpoints = 4;
  hpcd_USB_OTG_FS.Init.speed = PCD_SPEED_FULL;
  hpcd_USB_OTG_FS.Init.dma_enable = DISABLE;
  hpcd_USB_OTG_FS.Init.phy_itface = PCD_PHY_EMBEDDED;
  hpcd_USB_OTG_FS.Init.Sof_enable = DISABLE;
  hpcd_USB_OTG_FS.Init.low_power_enable = DISABLE;
  hpcd_USB_OTG_FS.Init.lpm_enable = DISABLE;
  hpcd_USB_OTG_FS.Init.vbus_sensing_enable = DISABLE;
  hpcd_USB_OTG_FS.Init.use_dedicated_ep1 = DISABLE;
  if (HAL_PCD_Init(&hpcd_USB_OTG_FS) != HAL_OK)
  {
    Error_Handler();
  }

}

static void MX_DMA_Init(void)
{

  /* DMA controller clock enable */
  __HAL_RCC_DMA2_CLK_ENABLE();
  __HAL_RCC_DMA1_CLK_ENABLE();

  /* DMA interrupt init */
  /* DMA1_Stream3_IRQn interrupt configuration */
  HAL_NVIC_SetPriority(DMA1_Stream3_IRQn, 5, 0);
  HAL_NVIC_EnableIRQ(DMA1_Stream3_IRQn);
  /* DMA1_Stream4_IRQn interrupt configuration */
  HAL_NVIC_SetPriority(DMA1_Stream4_IRQn, 5, 0);
  HAL_NVIC_EnableIRQ(DMA1_Stream4_IRQn);
  /* DMA2_Stream2_IRQn interrupt configuration */
  HAL_NVIC_SetPriority(DMA2_Stream2_IRQn, 5, 0);
  HAL_NVIC_EnableIRQ(DMA2_Stream2_IRQn);
  /* DMA2_Stream3_IRQn interrupt configuration */
  HAL_NVIC_SetPriority(DMA2_Stream3_IRQn, 5, 0);
  HAL_NVIC_EnableIRQ(DMA2_Stream3_IRQn);

}

static void MX_GPIO_Init(void)
{
  GPIO_InitTypeDef GPIO_InitStruct = {0};

  /* GPIO Ports Clock Enable */
  __HAL_RCC_GPIOC_CLK_ENABLE();
  __HAL_RCC_GPIOH_CLK_ENABLE();
  __HAL_RCC_GPIOA_CLK_ENABLE();
  __HAL_RCC_GPIOB_CLK_ENABLE();
  __HAL_RCC_GPIOD_CLK_ENABLE();

  /*Configure GPIO pin Output Level */
  HAL_GPIO_WritePin(SPI1_SS1_GPIO_Port, SPI1_SS1_Pin, GPIO_PIN_SET);

  /*Configure GPIO pin Output Level */
  HAL_GPIO_WritePin(GPIOC, DRV_ENABLE_Pin|GP1_Pin|LED_CLIP_Pin, GPIO_PIN_RESET);

  /*Configure GPIO pin Output Level */
  HAL_GPIO_WritePin(GPIOB, DRV_BRAKE_Pin|SPI2_NSS_Pin|LED_SYS_Pin, GPIO_PIN_RESET);

  /*Configure GPIO pin Output Level */
  HAL_GPIO_WritePin(GPIOB, SPI1_SS2_Pin|SPI1_SS3_Pin, GPIO_PIN_SET);

  /*Configure GPIO pin Output Level */
  HAL_GPIO_WritePin(LED_ERR_GPIO_Port, LED_ERR_Pin, GPIO_PIN_RESET);

  /*Configure GPIO pins : DIN2_Pin DIN1_Pin DIN0_Pin */
  GPIO_InitStruct.Pin = DIN2_Pin|DIN1_Pin|DIN0_Pin;
  GPIO_InitStruct.Mode = GPIO_MODE_INPUT;
  GPIO_InitStruct.Pull = GPIO_PULLUP;
  HAL_GPIO_Init(GPIOC, &GPIO_InitStruct);

  /*Configure GPIO pin : SPI1_SS1_Pin */
  GPIO_InitStruct.Pin = SPI1_SS1_Pin;
  GPIO_InitStruct.Mode = GPIO_MODE_OUTPUT_PP;
  GPIO_InitStruct.Pull = GPIO_NOPULL;
  GPIO_InitStruct.Speed = GPIO_SPEED_FREQ_VERY_HIGH;
  HAL_GPIO_Init(SPI1_SS1_GPIO_Port, &GPIO_InitStruct);

  /*Configure GPIO pins : DRV_ENABLE_Pin GP1_Pin LED_CLIP_Pin */
  GPIO_InitStruct.Pin = DRV_ENABLE_Pin|GP1_Pin|LED_CLIP_Pin;
  GPIO_InitStruct.Mode = GPIO_MODE_OUTPUT_PP;
  GPIO_InitStruct.Pull = GPIO_NOPULL;
  GPIO_InitStruct.Speed = GPIO_SPEED_FREQ_LOW;
  HAL_GPIO_Init(GPIOC, &GPIO_InitStruct);

  /*Configure GPIO pin : FLAG_Pin */
  GPIO_InitStruct.Pin = FLAG_Pin;
  GPIO_InitStruct.Mode = GPIO_MODE_IT_RISING;
  GPIO_InitStruct.Pull = GPIO_NOPULL;
  HAL_GPIO_Init(FLAG_GPIO_Port, &GPIO_InitStruct);

  /*Configure GPIO pin : DRV_BRAKE_Pin */
  GPIO_InitStruct.Pin = DRV_BRAKE_Pin;
  GPIO_InitStruct.Mode = GPIO_MODE_OUTPUT_PP;
  GPIO_InitStruct.Pull = GPIO_NOPULL;
  GPIO_InitStruct.Speed = GPIO_SPEED_FREQ_MEDIUM;
  HAL_GPIO_Init(DRV_BRAKE_GPIO_Port, &GPIO_InitStruct);

  /*Configure GPIO pins : SPI1_SS2_Pin SPI1_SS3_Pin */
  GPIO_InitStruct.Pin = SPI1_SS2_Pin|SPI1_SS3_Pin;
  GPIO_InitStruct.Mode = GPIO_MODE_OUTPUT_PP;
  GPIO_InitStruct.Pull = GPIO_NOPULL;
  GPIO_InitStruct.Speed = GPIO_SPEED_FREQ_VERY_HIGH;
  HAL_GPIO_Init(GPIOB, &GPIO_InitStruct);

  /*Configure GPIO pin : BUTTON_A_Pin */
  GPIO_InitStruct.Pin = BUTTON_A_Pin;
  GPIO_InitStruct.Mode = GPIO_MODE_IT_RISING;
  GPIO_InitStruct.Pull = GPIO_NOPULL;
  HAL_GPIO_Init(BUTTON_A_GPIO_Port, &GPIO_InitStruct);

  /*Configure GPIO pin : SPI2_NSS_Pin */
  GPIO_InitStruct.Pin = SPI2_NSS_Pin;
  GPIO_InitStruct.Mode = GPIO_MODE_OUTPUT_PP;
  GPIO_InitStruct.Pull = GPIO_NOPULL;
  GPIO_InitStruct.Speed = GPIO_SPEED_FREQ_HIGH;
  HAL_GPIO_Init(SPI2_NSS_GPIO_Port, &GPIO_InitStruct);

  /*Configure GPIO pin : ENCODER_Z_Pin */
  GPIO_InitStruct.Pin = ENCODER_Z_Pin;
  GPIO_InitStruct.Mode = GPIO_MODE_IT_FALLING;
  GPIO_InitStruct.Pull = GPIO_NOPULL;
  HAL_GPIO_Init(ENCODER_Z_GPIO_Port, &GPIO_InitStruct);

  /*Configure GPIO pin : GP3_Pin */
  GPIO_InitStruct.Pin = GP3_Pin;
  GPIO_InitStruct.Mode = GPIO_MODE_ANALOG;
  GPIO_InitStruct.Pull = GPIO_NOPULL;
  HAL_GPIO_Init(GP3_GPIO_Port, &GPIO_InitStruct);

  /*Configure GPIO pin : GP2_Pin */
  GPIO_InitStruct.Pin = GP2_Pin;
  GPIO_InitStruct.Mode = GPIO_MODE_ANALOG;
  GPIO_InitStruct.Pull = GPIO_NOPULL;
  HAL_GPIO_Init(GP2_GPIO_Port, &GPIO_InitStruct);

  /*Configure GPIO pin : LED_ERR_Pin */
  GPIO_InitStruct.Pin = LED_ERR_Pin;
  GPIO_InitStruct.Mode = GPIO_MODE_OUTPUT_PP;
  GPIO_InitStruct.Pull = GPIO_NOPULL;
  GPIO_InitStruct.Speed = GPIO_SPEED_FREQ_LOW;
  HAL_GPIO_Init(LED_ERR_GPIO_Port, &GPIO_InitStruct);

  /*Configure GPIO pins : DIN7_Pin DIN6_Pin DIN5_Pin DIN4_Pin
                           DIN3_Pin */
  GPIO_InitStruct.Pin = DIN7_Pin|DIN6_Pin|DIN5_Pin|DIN4_Pin
                          |DIN3_Pin;
  GPIO_InitStruct.Mode = GPIO_MODE_INPUT;
  GPIO_InitStruct.Pull = GPIO_PULLUP;
  HAL_GPIO_Init(GPIOB, &GPIO_InitStruct);

  /*Configure GPIO pin : LED_SYS_Pin */
  GPIO_InitStruct.Pin = LED_SYS_Pin;
  GPIO_InitStruct.Mode = GPIO_MODE_OUTPUT_PP;
  GPIO_InitStruct.Pull = GPIO_NOPULL;
  GPIO_InitStruct.Speed = GPIO_SPEED_FREQ_LOW;
  HAL_GPIO_Init(LED_SYS_GPIO_Port, &GPIO_InitStruct);

  /* EXTI interrupt init*/
  HAL_NVIC_SetPriority(EXTI2_IRQn, 6, 0);
  HAL_NVIC_EnableIRQ(EXTI2_IRQn);

}

/* USER CODE BEGIN 4 */
void RebootDFU(void) {
	*((unsigned long *)0x2001FFF0) = 0xDEADBEEF; // End of RAM
	NVIC_SystemReset();
}
/* USER CODE END 4 */

__weak void StartDefaultTask(void *argument)
{
  /* USER CODE BEGIN 5 */
	HAL_GPIO_WritePin(LED_ERR_GPIO_Port, LED_ERR_Pin, GPIO_PIN_RESET);
	HAL_GPIO_WritePin(LED_CLIP_GPIO_Port, LED_CLIP_Pin, GPIO_PIN_RESET);
	HAL_GPIO_WritePin(LED_SYS_GPIO_Port, LED_SYS_Pin, GPIO_PIN_RESET);
  /* Infinite loop */
  for(;;)
  {
	cppmain();
    osDelay(1);
  }
  /* USER CODE END 5 */
}

void HAL_TIM_PeriodElapsedCallback(TIM_HandleTypeDef *htim)
{
  if (htim->Instance == TIM11) {
    HAL_IncTick();
  }
  /* USER CODE BEGIN Callback 1 */
  else{
	  HAL_TIM_PeriodElapsedCallback_CPP(htim);
  }
  /* USER CODE END Callback 1 */
}

void Error_Handler(void)
{
  /* USER CODE BEGIN Error_Handler_Debug */

	// Blink Error led quickly
	for(uint8_t i = 0; i< 5; i++){
		HAL_GPIO_WritePin(LED_ERR_GPIO_Port, LED_ERR_Pin, GPIO_PIN_SET);
		osDelay(50);
		HAL_GPIO_WritePin(LED_ERR_GPIO_Port, LED_ERR_Pin, GPIO_PIN_RESET);
		osDelay(50);
	}
  /* User can add his own implementation to report the HAL error return state */

  /* USER CODE END Error_Handler_Debug */
}

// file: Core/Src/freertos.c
/* USER CODE BEGIN Header */
/**
  ******************************************************************************
  * File Name          : freertos.c
  * Description        : Code for freertos applications
  ******************************************************************************
  * @attention
  *
  * <h2><center>&copy; Copyright (c) 2021 STMicroelectronics.
  * All rights reserved.</center></h2>
  *
  * This software component is licensed by ST under Ultimate Liberty license
  * SLA0044, the "License"; You may not use this file except in compliance with
  * the License. You may obtain a copy of the License at:
  *                             www.st.com/SLA0044
  *
  ******************************************************************************
  */
/* USER CODE END Header */

#include "FreeRTOS.h"
#include "task.h"
#include "main.h"

/* Hook prototypes */
void vApplicationStackOverflowHook(xTaskHandle xTask, signed char *pcTaskName);

/* USER CODE BEGIN 4 */
void vApplicationStackOverflowHook(xTaskHandle xTask, signed char *pcTaskName)
{
   /* Run time stack overflow checking is performed if
   configCHECK_FOR_STACK_OVERFLOW is defined to 1 or 2. This hook function is
   called if a stack overflow is detected. */
}
/* USER CODE END 4 */
